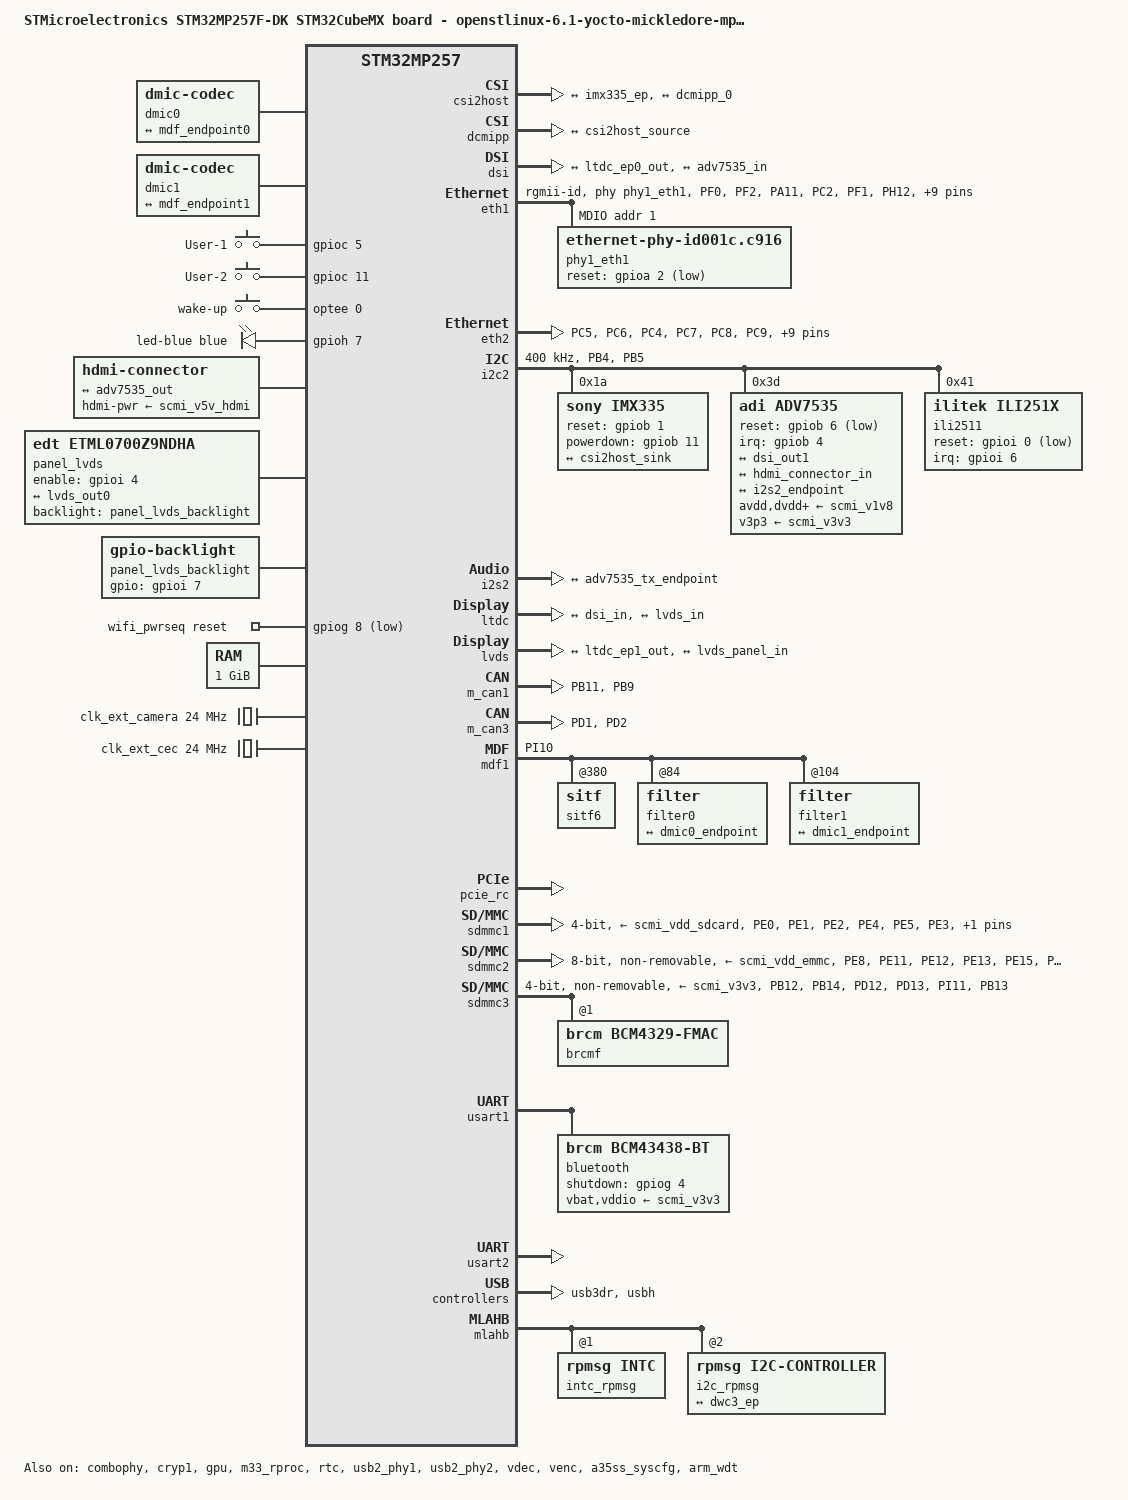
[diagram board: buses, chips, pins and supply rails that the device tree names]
/dts-v1/;
#include <dt-bindings/pinctrl/stm32-pinfunc.h>
#include "stm32mp257.dtsi"
#include "stm32mp25xf.dtsi"
#include "stm32mp257f-board_257f-dk-mx-resmem.dtsi"
#include "stm32mp25xxak-pinctrl.dtsi"

/* USER CODE BEGIN includes */
#include <dt-bindings/gpio/gpio.h>
#include <dt-bindings/input/input.h>
#include <dt-bindings/leds/common.h>
#include <dt-bindings/rtc/rtc-stm32.h>
#include "stm32mp25-pinctrl.dtsi"
/* USER CODE END includes */

/{
	model = "STMicroelectronics STM32MP257F-DK STM32CubeMX board - openstlinux-6.1-yocto-mickledore-mpu-v24.06.26";
	compatible = "st,stm32mp257f-board_257f-dk-mx", "st,stm32mp257f-dk", "st,stm32mp257";

	/* USER CODE BEGIN root */

	aliases{
		serial0 = &usart2;
		serial1 = &usart6;
		serial2 = &usart1;
		ethernet0 = &eth1;
	};

	chosen{
		stdout-path = "serial0:115200n8";
		#address-cells = <2>;
		#size-cells = <2>;
		ranges;
		
		framebuffer {
			compatible = "simple-framebuffer";
			status = "disabled";
		};
	};

	dmic0:dmic-0{
		compatible = "dmic-codec";
		#sound-dai-cells = <1>;
		sound-name-prefix = "dmic0";

		port{

			dmic0_endpoint:endpoint{
				remote-endpoint = <&mdf_endpoint0>;
			};
		};
	};

	dmic1:dmic-1{
		compatible = "dmic-codec";
		#sound-dai-cells = <1>;
		sound-name-prefix = "dmic1";

		port{

			dmic1_endpoint:endpoint{
				remote-endpoint = <&mdf_endpoint1>;
			};
		};
	};

	gpio-keys{
		compatible = "gpio-keys";

		button-user-1{
			label = "User-1";
			linux,code = <BTN_1>;
			gpios = <&gpioc 5 GPIO_ACTIVE_HIGH>;
			status = "okay";
		};

		button-user-2{
			label = "User-2";
			linux,code = <BTN_2>;
			gpios = <&gpioc 11 GPIO_ACTIVE_HIGH>;
			status = "okay";
		};

		button-wake-up{
			label = "wake-up";
			linux,code = <KEY_WAKEUP>;
			interrupts-extended = <&optee 0>;
			status = "okay";
		};
	};

	gpio-leds{
		compatible = "gpio-leds";

		led-blue{
			function = LED_FUNCTION_HEARTBEAT;
			color = <LED_COLOR_ID_BLUE>;
			gpios = <&gpioh 7 GPIO_ACTIVE_HIGH>;
			linux,default-trigger = "heartbeat";
			default-state = "off";
		};
	};

	hdmi:connector{
		compatible = "hdmi-connector";
		label = "hdmi";
		type = "a";
		hdmi-pwr-supply = <&scmi_v5v_hdmi>;

		port{

			hdmi_connector_in:endpoint{
				remote-endpoint = <&adv7535_out>;
			};
		};
	};

	panel_lvds:panel-lvds{
		compatible = "edt,etml0700z9ndha", "panel-lvds";
		enable-gpios = <&gpioi 4 GPIO_ACTIVE_HIGH>;
		backlight = <&panel_lvds_backlight>;
		status = "okay";
		width-mm = <156>;
		height-mm = <92>;
		data-mapping = "vesa-24";

		panel-timing{
			clock-frequency = <54000000>;
			hactive = <1024>;
			vactive = <600>;
			hfront-porch = <150>;
			hback-porch = <150>;
			hsync-len = <21>;
			vfront-porch = <24>;
			vback-porch = <24>;
			vsync-len = <21>;
		};

		port{

			lvds_panel_in:endpoint{
				remote-endpoint = <&lvds_out0>;
			};
		};
	};

	panel_lvds_backlight:panel-lvds-backlight{
		compatible = "gpio-backlight";
		gpios = <&gpioi 7 GPIO_ACTIVE_HIGH>;
		default-on;
		default-brightness-level = <0>;
		status = "okay";
	};

	sound{
		compatible = "audio-graph-card";
		label = "STM32MP25-DK";
		dais = <&i2s2_port &mdf1_port0 &mdf1_port1>;
		status = "okay";
	};

	wifi_pwrseq:wifi-pwrseq{
		compatible = "mmc-pwrseq-simple";
		reset-gpios = <&gpiog 8 GPIO_ACTIVE_LOW>;
	};
	/* USER CODE END root */

	memory@80000000{
		device_type = "memory";
		reg = <0x0 0x80000000 0x0 0x40000000>;
	};

	clocks{

		/* USER CODE BEGIN clocks */

		clk_ext_camera:clk-ext-camera{
			#clock-cells = <0>;
			compatible = "fixed-clock";
			clock-frequency = <24000000>;
		};

		clk_ext_cec:clk-ext-cec{
			#clock-cells = <0>;
			compatible = "fixed-clock";
			clock-frequency = <24000000>;
		};
		/* USER CODE END clocks */
	};
};

&pinctrl{

	eth1_mdio_pins_mx:eth1_mdio_mx-0{

		pins1{
			pinmux = <STM32_PINMUX('F', 0, AF10)>;
			bias-disable;
			drive-push-pull;
			slew-rate = <2>;
		};

		pins2{
			pinmux = <STM32_PINMUX('F', 2, AF10)>;
			bias-disable;
			drive-push-pull;
			slew-rate = <0>;
		};
	};

	eth1_mdio_sleep_pins_mx:eth1_mdio_sleep_mx-0{

		pins{
			pinmux = <STM32_PINMUX('F', 0, ANALOG)>,
					<STM32_PINMUX('F', 2, ANALOG)>;
		};
	};

	eth1_rgmii_pins_mx:eth1_rgmii_mx-0{

		pins1{
			pinmux = <STM32_PINMUX('A', 11, AF10)>,
					<STM32_PINMUX('C', 2, AF10)>,
					<STM32_PINMUX('F', 1, AF10)>,
					<STM32_PINMUX('H', 12, AF10)>,
					<STM32_PINMUX('H', 13, AF10)>;
			bias-disable;
			drive-push-pull;
		};

		pins2{
			pinmux = <STM32_PINMUX('A', 13, AF10)>,
					<STM32_PINMUX('A', 15, AF10)>,
					<STM32_PINMUX('C', 1, AF10)>,
					<STM32_PINMUX('H', 9, AF10)>,
					<STM32_PINMUX('H', 10, AF10)>,
					<STM32_PINMUX('H', 11, AF10)>;
			bias-disable;
			drive-push-pull;
			slew-rate = <2>;
		};

		pins3{
			pinmux = <STM32_PINMUX('A', 14, AF10)>;
			bias-disable;
			drive-push-pull;
			slew-rate = <0>;
		};

		pins4{
			pinmux = <STM32_PINMUX('C', 0, AF12)>;
			bias-disable;
			drive-push-pull;
			slew-rate = <1>;
		};
	};

	eth1_rgmii_sleep_pins_mx:eth1_rgmii_sleep_mx-0{

		pins{
			pinmux = <STM32_PINMUX('A', 11, ANALOG)>,
					<STM32_PINMUX('A', 13, ANALOG)>,
					<STM32_PINMUX('A', 14, ANALOG)>,
					<STM32_PINMUX('A', 15, ANALOG)>,
					<STM32_PINMUX('C', 0, ANALOG)>,
					<STM32_PINMUX('C', 1, ANALOG)>,
					<STM32_PINMUX('C', 2, ANALOG)>,
					<STM32_PINMUX('F', 1, ANALOG)>,
					<STM32_PINMUX('H', 9, ANALOG)>,
					<STM32_PINMUX('H', 10, ANALOG)>,
					<STM32_PINMUX('H', 11, ANALOG)>,
					<STM32_PINMUX('H', 12, ANALOG)>,
					<STM32_PINMUX('H', 13, ANALOG)>;
		};
	};

	eth2_mdio_pins_mx:eth2_mdio_mx-0{

		pins1{
			pinmux = <STM32_PINMUX('C', 5, AF10)>;
			bias-disable;
			drive-push-pull;
			slew-rate = <0>;
		};

		pins2{
			pinmux = <STM32_PINMUX('C', 6, AF10)>;
			bias-disable;
			drive-push-pull;
			slew-rate = <2>;
		};
	};

	eth2_mdio_sleep_pins_mx:eth2_mdio_sleep_mx-0{

		pins{
			pinmux = <STM32_PINMUX('C', 5, ANALOG)>,
					<STM32_PINMUX('C', 6, ANALOG)>;
		};
	};

	eth2_rgmii_pins_mx:eth2_rgmii_mx-0{

		pins1{
			pinmux = <STM32_PINMUX('C', 4, AF10)>,
					<STM32_PINMUX('C', 7, AF10)>,
					<STM32_PINMUX('C', 8, AF10)>,
					<STM32_PINMUX('C', 9, AF10)>,
					<STM32_PINMUX('C', 10, AF10)>,
					<STM32_PINMUX('F', 8, AF10)>;
			bias-disable;
			drive-push-pull;
			slew-rate = <2>;
		};

		pins2{
			pinmux = <STM32_PINMUX('C', 3, AF10)>,
					<STM32_PINMUX('C', 11, AF10)>,
					<STM32_PINMUX('C', 12, AF10)>,
					<STM32_PINMUX('F', 9, AF10)>,
					<STM32_PINMUX('G', 0, AF10)>;
			bias-disable;
			drive-push-pull;
		};

		pins3{
			pinmux = <STM32_PINMUX('F', 6, AF10)>;
			bias-disable;
			drive-push-pull;
			slew-rate = <0>;
		};

		pins4{
			pinmux = <STM32_PINMUX('F', 7, AF10)>;
			bias-disable;
			drive-push-pull;
			slew-rate = <1>;
		};
	};

	eth2_rgmii_sleep_pins_mx:eth2_rgmii_sleep_mx-0{

		pins{
			pinmux = <STM32_PINMUX('C', 3, ANALOG)>,
					<STM32_PINMUX('C', 4, ANALOG)>,
					<STM32_PINMUX('C', 7, ANALOG)>,
					<STM32_PINMUX('C', 8, ANALOG)>,
					<STM32_PINMUX('C', 9, ANALOG)>,
					<STM32_PINMUX('C', 10, ANALOG)>,
					<STM32_PINMUX('C', 11, ANALOG)>,
					<STM32_PINMUX('C', 12, ANALOG)>,
					<STM32_PINMUX('F', 6, ANALOG)>,
					<STM32_PINMUX('F', 7, ANALOG)>,
					<STM32_PINMUX('F', 8, ANALOG)>,
					<STM32_PINMUX('F', 9, ANALOG)>,
					<STM32_PINMUX('G', 0, ANALOG)>;
		};
	};

	fdcan1_pins_mx:fdcan1_mx-0{

		pins1{
			pinmux = <STM32_PINMUX('B', 11, AF7)>;
			bias-disable;
			drive-push-pull;
		};

		pins2{
			pinmux = <STM32_PINMUX('B', 9, AF7)>;
			bias-disable;
			drive-push-pull;
			slew-rate = <0>;
		};
	};

	fdcan1_sleep_pins_mx:fdcan1_sleep_mx-0{

		pins{
			pinmux = <STM32_PINMUX('B', 9, ANALOG)>,
					<STM32_PINMUX('B', 11, ANALOG)>;
		};
	};

	fdcan3_pins_mx:fdcan3_mx-0{

		pins1{
			pinmux = <STM32_PINMUX('D', 1, AF9)>;
			bias-disable;
			drive-push-pull;
		};

		pins2{
			pinmux = <STM32_PINMUX('D', 2, AF9)>;
			bias-disable;
			drive-push-pull;
			slew-rate = <0>;
		};
	};

	fdcan3_sleep_pins_mx:fdcan3_sleep_mx-0{

		pins{
			pinmux = <STM32_PINMUX('D', 1, ANALOG)>,
					<STM32_PINMUX('D', 2, ANALOG)>;
		};
	};

	i2c2_pins_mx:i2c2_mx-0{

		pins{
			pinmux = <STM32_PINMUX('B', 4, AF9)>,
					<STM32_PINMUX('B', 5, AF9)>;
			bias-disable;
			drive-open-drain;
			slew-rate = <0>;
		};
	};

	i2c2_sleep_pins_mx:i2c2_sleep_mx-0{

		pins{
			pinmux = <STM32_PINMUX('B', 4, ANALOG)>,
					<STM32_PINMUX('B', 5, ANALOG)>;
		};
	};

	mdf1_pins_mx:mdf1_mx-0{

		pins{
			pinmux = <STM32_PINMUX('I', 10, AF5)>;
			bias-disable;
			drive-push-pull;
			slew-rate = <0>;
		};
	};

	mdf1_sleep_pins_mx:mdf1_sleep_mx-0{

		pins{
			pinmux = <STM32_PINMUX('I', 10, ANALOG)>;
		};
	};

	rtc_pins_mx:rtc_mx-0{

		pins{
			pinmux = <STM32_PINMUX('I', 8, ANALOG)>;
			bias-disable;
			drive-push-pull;
			slew-rate = <0>;
		};
	};

	rtc_sleep_pins_mx:rtc_sleep_mx-0{

		pins{
			pinmux = <STM32_PINMUX('I', 8, ANALOG)>;
		};
	};

	sdmmc1_pins_mx:sdmmc1_mx-0{

		pins1{
			pinmux = <STM32_PINMUX('E', 0, AF10)>,
					<STM32_PINMUX('E', 1, AF10)>,
					<STM32_PINMUX('E', 2, AF10)>,
					<STM32_PINMUX('E', 4, AF10)>,
					<STM32_PINMUX('E', 5, AF10)>;
			bias-disable;
			drive-push-pull;
			slew-rate = <1>;
		};

		pins2{
			pinmux = <STM32_PINMUX('E', 3, AF10)>;
			bias-disable;
			drive-push-pull;
			slew-rate = <3>;
		};
	};

	sdmmc1_opendrain_pins_mx:sdmmc1_opendrain_mx-0{

		pins1{
			pinmux = <STM32_PINMUX('E', 0, AF10)>,
					<STM32_PINMUX('E', 1, AF10)>,
					<STM32_PINMUX('E', 4, AF10)>,
					<STM32_PINMUX('E', 5, AF10)>;
			bias-disable;
			drive-push-pull;
			slew-rate = <1>;
		};

		pins2{
			pinmux = <STM32_PINMUX('E', 2, AF10)>;
			bias-disable;
			drive-open-drain;
			slew-rate = <1>;
		};

		pins3{
			pinmux = <STM32_PINMUX('E', 3, AF10)>;
			bias-disable;
			drive-push-pull;
			slew-rate = <3>;
		};
	};

	sdmmc1_sleep_pins_mx:sdmmc1_sleep_mx-0{

		pins{
			pinmux = <STM32_PINMUX('E', 0, ANALOG)>,
					<STM32_PINMUX('E', 1, ANALOG)>,
					<STM32_PINMUX('E', 2, ANALOG)>,
					<STM32_PINMUX('E', 3, ANALOG)>,
					<STM32_PINMUX('E', 4, ANALOG)>,
					<STM32_PINMUX('E', 5, ANALOG)>;
		};
	};

	sdmmc2_pins_mx:sdmmc2_mx-0{

		pins1{
			pinmux = <STM32_PINMUX('E', 8, AF12)>,
					<STM32_PINMUX('E', 11, AF12)>,
					<STM32_PINMUX('E', 12, AF12)>,
					<STM32_PINMUX('E', 13, AF12)>,
					<STM32_PINMUX('E', 15, AF12)>;
			bias-disable;
			drive-push-pull;
			slew-rate = <1>;
		};

		pins2{
			pinmux = <STM32_PINMUX('E', 14, AF12)>;
			bias-disable;
			drive-push-pull;
			slew-rate = <3>;
		};
	};

	sdmmc2_opendrain_pins_mx:sdmmc2_opendrain_mx-0{

		pins1{
			pinmux = <STM32_PINMUX('E', 8, AF12)>,
					<STM32_PINMUX('E', 11, AF12)>,
					<STM32_PINMUX('E', 12, AF12)>,
					<STM32_PINMUX('E', 13, AF12)>;
			bias-disable;
			drive-push-pull;
			slew-rate = <1>;
		};

		pins2{
			pinmux = <STM32_PINMUX('E', 14, AF12)>;
			bias-disable;
			drive-push-pull;
			slew-rate = <3>;
		};

		pins3{
			pinmux = <STM32_PINMUX('E', 15, AF12)>;
			bias-disable;
			drive-open-drain;
			slew-rate = <1>;
		};
	};

	sdmmc2_sleep_pins_mx:sdmmc2_sleep_mx-0{

		pins{
			pinmux = <STM32_PINMUX('E', 8, ANALOG)>,
					<STM32_PINMUX('E', 11, ANALOG)>,
					<STM32_PINMUX('E', 12, ANALOG)>,
					<STM32_PINMUX('E', 13, ANALOG)>,
					<STM32_PINMUX('E', 14, ANALOG)>,
					<STM32_PINMUX('E', 15, ANALOG)>;
		};
	};

	sdmmc3_pins_mx:sdmmc3_mx-0{

		pins1{
			pinmux = <STM32_PINMUX('B', 12, AF10)>,
					<STM32_PINMUX('B', 14, AF10)>,
					<STM32_PINMUX('D', 12, AF10)>,
					<STM32_PINMUX('D', 13, AF10)>,
					<STM32_PINMUX('I', 11, AF10)>;
			bias-disable;
			drive-push-pull;
			slew-rate = <1>;
		};

		pins2{
			pinmux = <STM32_PINMUX('B', 13, AF10)>;
			bias-disable;
			drive-push-pull;
			slew-rate = <3>;
		};
	};

	sdmmc3_opendrain_pins_mx:sdmmc3_opendrain_mx-0{

		pins1{
			pinmux = <STM32_PINMUX('B', 12, AF10)>,
					<STM32_PINMUX('B', 14, AF10)>,
					<STM32_PINMUX('D', 13, AF10)>,
					<STM32_PINMUX('I', 11, AF10)>;
			bias-disable;
			drive-push-pull;
			slew-rate = <1>;
		};

		pins2{
			pinmux = <STM32_PINMUX('B', 13, AF10)>;
			bias-disable;
			drive-push-pull;
			slew-rate = <3>;
		};

		pins3{
			pinmux = <STM32_PINMUX('D', 12, AF10)>;
			bias-disable;
			drive-open-drain;
			slew-rate = <1>;
		};
	};

	sdmmc3_sleep_pins_mx:sdmmc3_sleep_mx-0{

		pins{
			pinmux = <STM32_PINMUX('B', 12, ANALOG)>,
					<STM32_PINMUX('B', 13, ANALOG)>,
					<STM32_PINMUX('B', 14, ANALOG)>,
					<STM32_PINMUX('D', 12, ANALOG)>,
					<STM32_PINMUX('D', 13, ANALOG)>,
					<STM32_PINMUX('I', 11, ANALOG)>;
		};
	};
};

&pinctrl_z{
};

&combophy{
	status = "okay";

	/* USER CODE BEGIN combophy */
	st,ssc-on;
	/* USER CODE END combophy */
};

&cryp1{
	status = "okay";
};

&csi2host{
	status = "okay";

	/* USER CODE BEGIN csi2host */
	vdd-supply = <&scmi_vddcore>;
	vdda18-supply = <&scmi_v1v8>;

	ports{
		#address-cells = <1>;
		#size-cells = <0>;

		port@0{
			reg = <0>;

			csi2host_sink:endpoint{
				remote-endpoint = <&imx335_ep>;
				data-lanes = <0 1>;
				bus-type = <4>;
			};
		};

		port@1{
			reg = <1>;

			csi2host_source:endpoint{
				remote-endpoint = <&dcmipp_0>;
			};
		};
	};
	/* USER CODE END csi2host */
};

&dcmipp{
	status = "okay";

	/* USER CODE BEGIN dcmipp */

	port{

		dcmipp_0:endpoint{
			remote-endpoint = <&csi2host_source>;
			bus-type = <4>;
		};
	};
	/* USER CODE END dcmipp */
};

&dsi{
	status = "okay";

	/* USER CODE BEGIN dsi */
	vdd-supply = <&scmi_vddcore>;
	vdda18-supply = <&scmi_v1v8>;

	ports{
		#address-cells = <1>;
		#size-cells = <0>;

		port@0{
			reg = <0>;

			dsi_in:endpoint{
				remote-endpoint = <&ltdc_ep0_out>;
			};
		};

		port@1{
			reg = <1>;

			dsi_out1:endpoint{
				remote-endpoint = <&adv7535_in>;
			};
		};
	};
	/* USER CODE END dsi */
};

&eth1{
	pinctrl-names = "default", "sleep";
	pinctrl-0 = <&eth1_mdio_pins_mx>, <&eth1_rgmii_pins_mx>;
	pinctrl-1 = <&eth1_mdio_sleep_pins_mx>, <&eth1_rgmii_sleep_pins_mx>;
	status = "okay";

	/* USER CODE BEGIN eth1 */
	phy-mode = "rgmii-id";
	max-speed = <1000>;
	phy-handle = <&phy1_eth1>;
	st,eth-ptp-from-rcc;

	mdio1{
		#address-cells = <1>;
		#size-cells = <0>;
		compatible = "snps,dwmac-mdio";

		phy1_eth1:ethernet-phy@1{
			compatible = "ethernet-phy-id001c.c916";
			reset-gpios = <&gpioa 2 GPIO_ACTIVE_LOW>;
			reset-assert-us = <10000>;
			reset-deassert-us = <80000>;
			realtek,eee-disable;
			reg = <1>;
		};
	};
	/* USER CODE END eth1 */
};

&eth2{
	pinctrl-names = "default", "sleep";
	pinctrl-0 = <&eth2_mdio_pins_mx>, <&eth2_rgmii_pins_mx>;
	pinctrl-1 = <&eth2_mdio_sleep_pins_mx>, <&eth2_rgmii_sleep_pins_mx>;
	status = "okay";
};

&gpu{
	status = "okay";

	/* USER CODE BEGIN gpu */
	contiguous-area = <&gpu_reserved>;
	/* USER CODE END gpu */
};

&hpdma{
	status = "okay";

	/* USER CODE BEGIN hpdma */
	memory-region = <&hpdma1_lli>;
	/* USER CODE END hpdma */
};

&hpdma2{
	status = "okay";

	/* USER CODE BEGIN hpdma2 */
	memory-region = <&hpdma2_lli>;
	/* USER CODE END hpdma2 */
};

&hpdma3{
	status = "okay";

	/* USER CODE BEGIN hpdma3 */
	memory-region = <&hpdma3_lli>;
	/* USER CODE END hpdma3 */
};

&i2c2{
	pinctrl-names = "default", "sleep";
	pinctrl-0 = <&i2c2_pins_mx>;
	pinctrl-1 = <&i2c2_sleep_pins_mx>;
	status = "okay";

	/* USER CODE BEGIN i2c2 */
	i2c-scl-rising-time-ns = <108>;
	i2c-scl-falling-time-ns = <12>;
	clock-frequency = <400000>;
	/delete-property/ dmas;
	/delete-property/ dma-names;

	imx335:imx335@1a{
		compatible = "sony,imx335";
		reg = <0x1a>;
		clocks = <&clk_ext_camera>;
		reset-gpios = <&gpiob 1 (GPIO_ACTIVE_HIGH | GPIO_PUSH_PULL)>;
		powerdown-gpios = <&gpiob 11 (GPIO_ACTIVE_HIGH | GPIO_PUSH_PULL)>;
		status = "okay";

		port{

			imx335_ep:endpoint{
				remote-endpoint = <&csi2host_sink>;
				clock-lanes = <0>;
				data-lanes = <1 2>;
				link-frequencies = /bits/ 64 <594000000>;
			};
		};
	};

	adv7535:hdmi@3d{
		compatible = "adi,adv7535";
		reg = <0x3d>, <0x3c>, <0x3f>, <0x38>;
		reg-names = "main", "cec", "edid", "packet";
		status = "okay";
		adi,dsi-lanes = <4>;
		clocks = <&clk_ext_cec>;
		clock-names = "cec";
		interrupt-parent = <&gpiob>;
		interrupts = <4 IRQ_TYPE_EDGE_FALLING>;
		reset-gpios = <&gpiob 6 GPIO_ACTIVE_LOW>;
		avdd-supply = <&scmi_v1v8>;
		dvdd-supply = <&scmi_v1v8>;
		pvdd-supply = <&scmi_v1v8>;
		a2vdd-supply = <&scmi_v1v8>;
		v3p3-supply = <&scmi_v3v3>;
		v1p2-supply = <&scmi_v1v8>;

		ports{
			#address-cells = <1>;
			#size-cells = <0>;

			port@0{
				reg = <0>;

				adv7535_in:endpoint{
					remote-endpoint = <&dsi_out1>;
				};
			};

			port@1{
				reg = <1>;

				adv7535_out:endpoint{
					remote-endpoint = <&hdmi_connector_in>;
				};
			};

			port@2{
				reg = <2>;

				adv7535_tx_endpoint:endpoint{
					remote-endpoint = <&i2s2_endpoint>;
				};
			};
		};
	};

	ili2511:ili2511@41{
		compatible = "ilitek,ili251x";
		reg = <0x41>;
		interrupt-parent = <&gpioi>;
		interrupts = <6 IRQ_TYPE_EDGE_FALLING>;
		reset-gpios = <&gpioi 0 GPIO_ACTIVE_LOW>;
		status = "okay";
	};
	/* USER CODE END i2c2 */
};

&i2s2{
	pinctrl-names = "default", "sleep";
	pinctrl-0 = <&i2s2_pins_mx>;
	pinctrl-1 = <&i2s2_sleep_pins_mx>;
	status = "okay";

	/* USER CODE BEGIN i2s2 */
	i2s2_port:port{

		i2s2_endpoint:endpoint{
			remote-endpoint = <&adv7535_tx_endpoint>;
			format = "i2s";
			mclk-fs = <256>;
		};
	};
	/* USER CODE END i2s2 */
};

&ipcc1{
	status = "okay";
};

&ltdc{
	status = "okay";

	/* USER CODE BEGIN ltdc */

	port{
		#address-cells = <1>;
		#size-cells = <0>;

		ltdc_ep0_out:endpoint@0{
			reg = <0>;
			remote-endpoint = <&dsi_in>;
		};

		ltdc_ep1_out:endpoint@1{
			reg = <1>;
			remote-endpoint = <&lvds_in>;
		};
	};
	/* USER CODE END ltdc */
};

&lvds{
	status = "okay";

	/* USER CODE BEGIN lvds */
	vdd-supply = <&scmi_vddcore>;
	vdda18-supply = <&scmi_v1v8>;

	ports{
		#address-cells = <1>;
		#size-cells = <0>;

		port@0{
			reg = <0>;

			lvds_in:endpoint{
				remote-endpoint = <&ltdc_ep1_out>;
			};
		};

		port@1{
			reg = <1>;

			lvds_out0:endpoint{
				remote-endpoint = <&lvds_panel_in>;
			};
		};
	};
	/* USER CODE END lvds */
};

&m_can1{
	pinctrl-names = "default", "sleep";
	pinctrl-0 = <&fdcan1_pins_mx>;
	pinctrl-1 = <&fdcan1_sleep_pins_mx>;
	status = "okay";
};

&m_can3{
	pinctrl-names = "default", "sleep";
	pinctrl-0 = <&fdcan3_pins_mx>;
	pinctrl-1 = <&fdcan3_sleep_pins_mx>;
	status = "okay";
};

&m33_rproc{
	status = "okay";

	/* USER CODE BEGIN m33_rproc */
	compatible = "st,stm32mp2-m33-tee";
	mboxes = <&ipcc1 0x100>, <&ipcc1 0x101>, <&ipcc1 2>;
	mbox-names = "vq0", "vq1", "shutdown";
	memory-region = <&ipc_shmem_1>, <&vdev0vring0>,
			<&vdev0vring1>, <&vdev0buffer>,
			<&cm33_sram2>;
	/* USER CODE END m33_rproc */
};

&mdf1{
	pinctrl-names = "default", "sleep";
	pinctrl-0 = <&mdf1_pins_mx>;
	pinctrl-1 = <&mdf1_sleep_pins_mx>;
	status = "okay";

	/* USER CODE BEGIN mdf1 */
	#clock-cells = <0>;
	clock-output-names = "cck0";
	clock-frequency = <1536000>;

	sitf6:sitf@380{
		pinctrl-names = "default", "sleep";
		pinctrl-0 = <&mdf_sdi6_pins_a>;
		pinctrl-1 = <&mdf_sdi6_sleep_pins_a>;
		st,sitf-mode = "spi";
		clocks = <&mdf1>;
		status = "okay";
	};

	filter0:filter@84{
		st,cic-mode = <4>;
		st,sitf = <&sitf6 0>;
		st,hpf-filter-cutoff-bp = <625>;
		status = "okay";

		asoc_pdm0:mdf-dai{
			compatible = "st,stm32mp25-mdf-dai";
			#sound-dai-cells = <0>;
			io-channels = <&filter0 0>;
			power-domains = <&RET_PD>;
			status = "okay";

			mdf1_port0:port{

				mdf_endpoint0:endpoint{
					remote-endpoint = <&dmic0_endpoint>;
				};
			};
		};
	};

	filter1:filter@104{
		st,cic-mode = <4>;
		st,sitf = <&sitf6 1>;
		st,hpf-filter-cutoff-bp = <625>;
		status = "okay";

		asoc_pdm1:mdf-dai{
			compatible = "st,stm32mp25-mdf-dai";
			#sound-dai-cells = <0>;
			io-channels = <&filter1 0>;
			power-domains = <&RET_PD>;
			status = "okay";

			mdf1_port1:port{

				mdf_endpoint1:endpoint{
					remote-endpoint = <&dmic1_endpoint>;
				};
			};
		};
	};
	/* USER CODE END mdf1 */
};

&pcie_rc{
	status = "okay";
};

&rtc{
	pinctrl-names = "default", "sleep";
	pinctrl-0 = <&rtc_pins_mx>;
	pinctrl-1 = <&rtc_sleep_pins_mx>;
	status = "okay";

	/* USER CODE BEGIN rtc */
	st,lsco = <RTC_OUT2_RMP>;
	/* USER CODE END rtc */
};

&sdmmc1{
	pinctrl-names = "default", "opendrain", "sleep";
	pinctrl-0 = <&sdmmc1_pins_mx>;
	pinctrl-1 = <&sdmmc1_opendrain_pins_mx>;
	pinctrl-2 = <&sdmmc1_sleep_pins_mx>;
	status = "okay";

	/* USER CODE BEGIN sdmmc1 */
	cd-gpios = <&gpiod 3 (GPIO_ACTIVE_LOW | GPIO_PULL_UP)>;
	disable-wp;
	st,neg-edge;
	bus-width = <4>;
	vmmc-supply = <&scmi_vdd_sdcard>;
	vqmmc-supply = <&scmi_vddio1>;
	sd-uhs-sdr12;
	sd-uhs-sdr25;
	sd-uhs-sdr50;
	sd-uhs-ddr50;
	sd-uhs-sdr104;
	/* USER CODE END sdmmc1 */
};

&sdmmc2{
	pinctrl-names = "default", "opendrain", "sleep";
	pinctrl-0 = <&sdmmc2_pins_mx>;
	pinctrl-1 = <&sdmmc2_opendrain_pins_mx>;
	pinctrl-2 = <&sdmmc2_sleep_pins_mx>;
	status = "okay";

	/* USER CODE BEGIN sdmmc2 */
	non-removable;
	no-sd;
	no-sdio;
	st,neg-edge;
	bus-width = <8>;
	vmmc-supply = <&scmi_vdd_emmc>;
	vqmmc-supply = <&scmi_vddio2>;
	mmc-ddr-1_8v;
	mmc-hs200-1_8v;
	/* USER CODE END sdmmc2 */
};

&sdmmc3{
	pinctrl-names = "default", "opendrain", "sleep";
	pinctrl-0 = <&sdmmc3_pins_mx>;
	pinctrl-1 = <&sdmmc3_opendrain_pins_mx>;
	pinctrl-2 = <&sdmmc3_sleep_pins_mx>;
	status = "okay";

	/* USER CODE BEGIN sdmmc3 */
	non-removable;
	st,neg-edge;
	bus-width = <4>;
	vmmc-supply = <&scmi_v3v3>;
	mmc-pwrseq = <&wifi_pwrseq>;
	cap-sdio-irq;
	#address-cells = <1>;
	#size-cells = <0>;

	brcmf:bcrmf@1{
		reg = <1>;
		compatible = "brcm,bcm4329-fmac";
	};
	/* USER CODE END sdmmc3 */
};
&usart1{
	pinctrl-names = "default", "idle", "sleep";
	pinctrl-0 = <&usart1_pins_mx>;
	pinctrl-1 = <&usart1_idle_pins_mx>;
	pinctrl-2 = <&usart1_sleep_pins_mx>;
	status = "okay";

	/* USER CODE BEGIN usart1 */
	uart-has-rtscts;
	status = "okay";

	bluetooth{
		shutdown-gpios = <&gpiog 4 GPIO_ACTIVE_HIGH>;
		compatible = "brcm,bcm43438-bt";
		max-speed = <3000000>;
		vbat-supply = <&scmi_v3v3>;
		vddio-supply = <&scmi_v3v3>;
	};
	/* USER CODE END usart1 */
};

&usart2{
	pinctrl-names = "default", "idle", "sleep";
	pinctrl-0 = <&usart2_pins_mx>;
	pinctrl-1 = <&usart2_idle_pins_mx>;
	pinctrl-2 = <&usart2_sleep_pins_mx>;
	status = "okay";

	/* USER CODE BEGIN usart2 */
	/delete-property/ dmas;
	/delete-property/ dma-names;
	/* USER CODE END usart2 */
};
&usb2_phy1{
	status = "okay";

	/* USER CODE BEGIN usb2_phy1 */
	vdd33-supply = <&scmi_vdd3v3_usb>;
	/* USER CODE END usb2_phy1 */
};

&usb2_phy2{
	status = "okay";

	/* USER CODE BEGIN usb2_phy2 */
	vdd33-supply = <&scmi_vdd3v3_usb>;
	/* USER CODE END usb2_phy2 */
};

&usb3dr{
	status = "okay";

	/* USER CODE BEGIN usb3dr */

	dwc3:usb@48300000{
		phys = <&usb2_phy2>, <&combophy PHY_TYPE_USB3>;
		phy-names = "usb2-phy", "usb3-phy";
		usb-role-switch;

		port{

			dwc3_ep:endpoint{
				remote-endpoint = <&typec_ep>;
			};
		};
	};
	/* USER CODE END usb3dr */
};

&usbh{
	status = "okay";
};

&vdec{
	status = "okay";
};

&venc{
	status = "okay";
};

/* USER CODE BEGIN addons */

&a35ss_syscfg{
	status = "okay";
};

&arm_wdt{
	timeout-sec = <32>;
	status = "okay";
};

&mlahb{

	intc_rpmsg:interrupt-controller@1{
		compatible = "rpmsg,intc";
		reg = <1 0>;
		#interrupt-cells = <1>;
		interrupt-controller;
	};

	i2c_rpmsg:i2c@2{
		compatible = "rpmsg,i2c-controller";
		reg = <2 0>;
		rpmsg,dev-id = "rpmsg_i2c";
		#address-cells = <1>;
		#size-cells = <0>;
		status = "okay";

		typec@35{
			compatible = "st,stm32mp25-typec";
			reg = <0x35>;
			interrupts-extended = <&intc_rpmsg 0>;
			status = "okay";

			connector{
				compatible = "usb-c-connector";
				label = "USB-C";

				port{

					typec_ep:endpoint{
						remote-endpoint = <&dwc3_ep>;
					};
				};
			};
		};
	};
};

&scmi_regu{

	scmi_vddio1:regulator@0{
		regulator-min-microvolt = <1800000>;
		regulator-max-microvolt = <3300000>;
	};

	scmi_vddcore:regulator@11{
		reg = <VOLTD_SCMI_STPMIC2_BUCK2>;
		regulator-name = "vddcore";
	};

	scmi_v1v8:regulator@14{
		reg = <VOLTD_SCMI_STPMIC2_BUCK5>;
		regulator-name = "v1v8";
	};

	scmi_v3v3:regulator@16{
		reg = <VOLTD_SCMI_STPMIC2_BUCK7>;
		regulator-name = "v3v3";
	};

	scmi_vdd_emmc:regulator@18{
		reg = <VOLTD_SCMI_STPMIC2_LDO2>;
		regulator-name = "vdd_emmc";
	};

	scmi_vdd3v3_usb:regulator@20{
		reg = <VOLTD_SCMI_STPMIC2_LDO4>;
		regulator-name = "vdd3v3_usb";
	};

	scmi_v5v_hdmi:regulator@21{
		reg = <VOLTD_SCMI_STPMIC2_LDO5>;
		regulator-name = "v5v_hdmi";
	};

	scmi_v5v_vconn:regulator@22{
		reg = <VOLTD_SCMI_STPMIC2_LDO6>;
		regulator-name = "v5v_vconn";
	};

	scmi_vdd_sdcard:regulator@23{
		reg = <VOLTD_SCMI_STPMIC2_LDO7>;
		regulator-name = "vdd_sdcard";
	};
};

/* USER CODE END addons */
